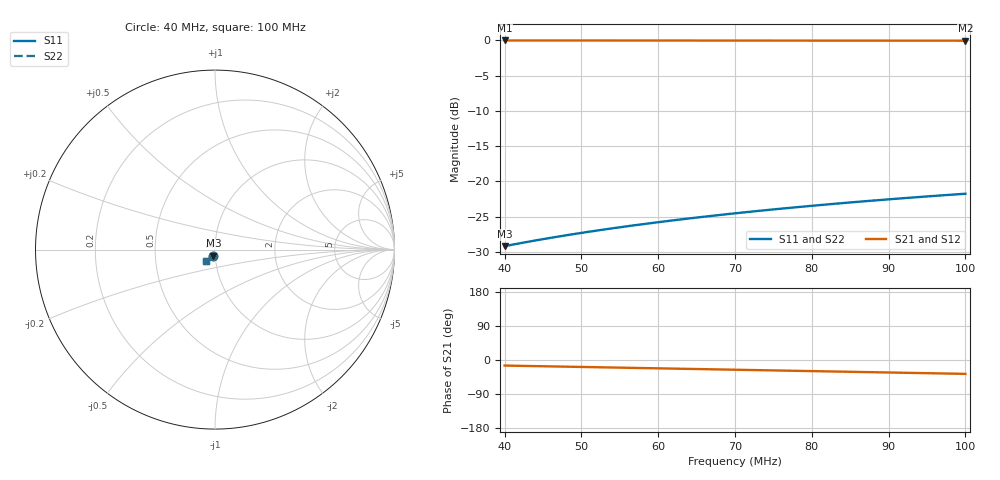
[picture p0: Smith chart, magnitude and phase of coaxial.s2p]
# HZ S RI R 50
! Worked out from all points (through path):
!   101 points, 40 MHz to 100 MHz, reference 50 ohm
!   highest |S21| = -0.02 dB at 40 MHz (marker M1); lowest = -0.1 dB at 100 MHz (marker M2)
!   group delay of S21, straight-line fit = 1.02 ns
!   lowest |S11| = -29.2 dB at 40 MHz (marker M3), VSWR 1.07, Z = 49 - j3.3 ohm
!   |S11| at or under -10 dB: start of sweep to end of sweep
!   |S22| runs from -29.2 to -21.7 dB; largest |S21 - S12| = 0
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4e7  -0.00903 -0.0336  0.9652 -0.2527  0.9652 -0.2527  -0.00903 -0.0336
4.24e7  -0.0101 -0.0354  0.9611 -0.2674  0.9611 -0.2674  -0.0101 -0.0354
4.48e7  -0.0112 -0.0372  0.9568 -0.2821  0.9568 -0.2821  -0.0112 -0.0372
4.72e7  -0.0124 -0.039  0.9522 -0.2967  0.9522 -0.2967  -0.0124 -0.039
5.02e7  -0.0139 -0.0411  0.9462 -0.3149  0.9462 -0.3149  -0.0139 -0.0411
5.26e7  -0.0152 -0.0428  0.9411 -0.3293  0.9411 -0.3293  -0.0152 -0.0428
5.5e7  -0.0166 -0.0444  0.9358 -0.3437  0.9358 -0.3437  -0.0166 -0.0444
5.74e7  -0.018 -0.046  0.9303 -0.3579  0.9303 -0.3579  -0.018 -0.046
6.04e7  -0.0198 -0.0479  0.9231 -0.3756  0.9231 -0.3756  -0.0198 -0.0479
6.28e7  -0.0213 -0.0494  0.9171 -0.3897  0.9171 -0.3897  -0.0213 -0.0494
6.52e7  -0.0228 -0.0508  0.9109 -0.4036  0.9109 -0.4036  -0.0228 -0.0508
6.76e7  -0.0244 -0.0522  0.9045 -0.4175  0.9045 -0.4175  -0.0244 -0.0522
7e7  -0.026 -0.0535  0.8978 -0.4312  0.8978 -0.4312  -0.026 -0.0535
7.24e7  -0.0277 -0.0548  0.891 -0.4448  0.891 -0.4448  -0.0277 -0.0548
7.48e7  -0.0294 -0.056  0.884 -0.4583  0.884 -0.4583  -0.0294 -0.056
7.72e7  -0.0311 -0.0572  0.8767 -0.4717  0.8767 -0.4717  -0.0311 -0.0572
8.02e7  -0.0333 -0.0586  0.8673 -0.4883  0.8673 -0.4883  -0.0333 -0.0586
8.5e7  -0.037 -0.0607  0.8517 -0.5145  0.8517 -0.5145  -0.037 -0.0607
8.74e7  -0.0388 -0.0616  0.8436 -0.5273  0.8436 -0.5273  -0.0388 -0.0616
9.04e7  -0.0412 -0.0627  0.8332 -0.5432  0.8332 -0.5432  -0.0412 -0.0627
9.52e7  -0.0451 -0.0643  0.816 -0.5683  0.816 -0.5683  -0.0451 -0.0643
1e8  -0.0491 -0.0656  0.7979 -0.5927  0.7979 -0.5927  -0.0491 -0.0656
